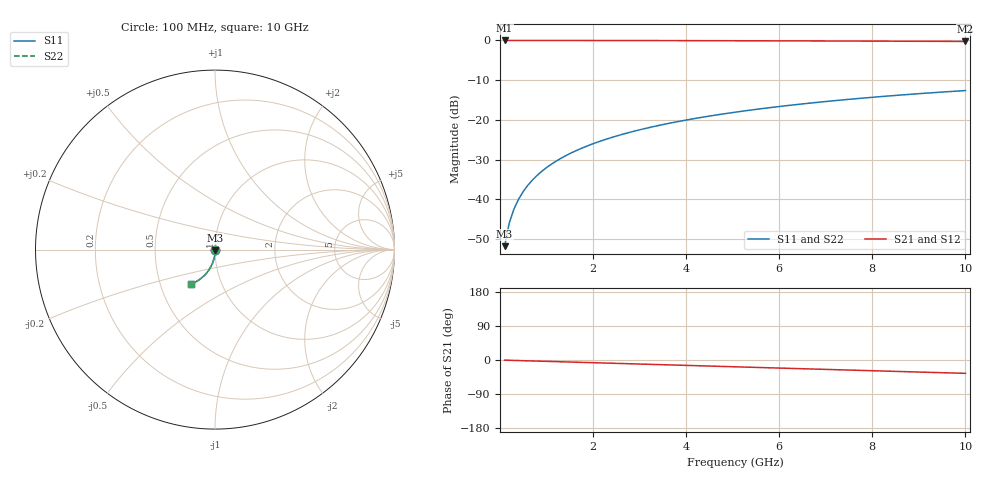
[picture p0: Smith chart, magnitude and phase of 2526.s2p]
# Hz S RI R 50.00
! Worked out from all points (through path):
!   100 points, 100 MHz to 10 GHz, reference 50 ohm
!   highest |S21| = -0.01 dB at 100 MHz (marker M1); lowest = -0.3 dB at 10 GHz (marker M2)
!   group delay of S21, straight-line fit = 9.8 ps
!   lowest |S11| = -51.7 dB at 100 MHz (marker M3), VSWR 1.01, Z = 50.1 - j0.252 ohm
!   |S11| at or under -10 dB: start of sweep to end of sweep
!   |S22| runs from -51.7 to -12.6 dB; largest |S21 - S12| = 0
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1e8  0.000593 -0.00252  0.9994 -0.00619  0.9994 -0.00619  0.000593 -0.00252
2e8  0.000546 -0.00504  0.9993 -0.0124  0.9993 -0.0124  0.000546 -0.00504
3e8  0.000467 -0.00755  0.9992 -0.0186  0.9992 -0.0186  0.000467 -0.00755
4e8  0.000357 -0.0101  0.999 -0.0248  0.999 -0.0248  0.000357 -0.0101
5e8  0.000214 -0.0126  0.9988 -0.031  0.9988 -0.031  0.000214 -0.0126
6e8  4.08e-05 -0.0151  0.9985 -0.0371  0.9985 -0.0371  4.08e-05 -0.0151
7e8  -0.000164 -0.0176  0.9982 -0.0433  0.9982 -0.0433  -0.000164 -0.0176
8e8  -0.0004 -0.0201  0.9979 -0.0495  0.9979 -0.0495  -0.0004 -0.0201
9e8  -0.000668 -0.0226  0.9975 -0.0557  0.9975 -0.0557  -0.000668 -0.0226
1.1e9  -0.0013 -0.0276  0.9966 -0.068  0.9966 -0.068  -0.0013 -0.0276
1.4e9  -0.00247 -0.0351  0.9949 -0.0865  0.9949 -0.0865  -0.00247 -0.0351
1.8e9  -0.00447 -0.045  0.992 -0.1111  0.992 -0.1111  -0.00447 -0.045
2.1e9  -0.00629 -0.0523  0.9894 -0.1295  0.9894 -0.1295  -0.00629 -0.0523
2.5e9  -0.00914 -0.062  0.9853 -0.1539  0.9853 -0.1539  -0.00914 -0.062
2.9e9  -0.0125 -0.0716  0.9805 -0.1782  0.9805 -0.1782  -0.0125 -0.0716
3.4e9  -0.0173 -0.0832  0.9735 -0.2083  0.9735 -0.2083  -0.0173 -0.0832
4.2e9  -0.0264 -0.1012  0.9602 -0.2558  0.9602 -0.2558  -0.0264 -0.1012
5.1e9  -0.0388 -0.1202  0.942 -0.308  0.942 -0.308  -0.0388 -0.1202
5.9e9  -0.0515 -0.1358  0.9232 -0.3531  0.9232 -0.3531  -0.0515 -0.1358
6.7e9  -0.0655 -0.15  0.9021 -0.3969  0.9021 -0.3969  -0.0655 -0.15
8.4e9  -0.0994 -0.175  0.8499 -0.4848  0.8499 -0.4848  -0.0994 -0.175
1e10  -0.1349 -0.1915  0.793 -0.5603  0.793 -0.5603  -0.1349 -0.1915
